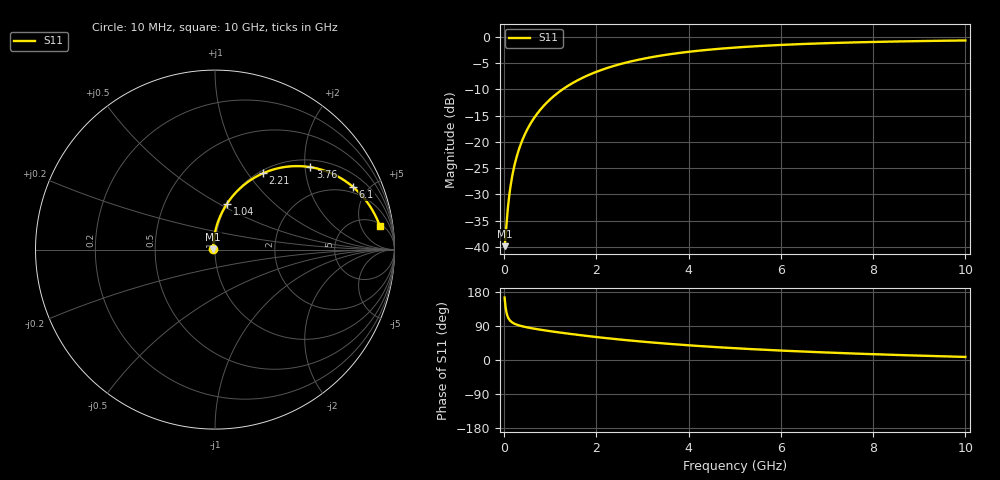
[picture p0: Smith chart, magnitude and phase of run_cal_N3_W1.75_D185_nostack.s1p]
#  Hz  S  RI  R  50
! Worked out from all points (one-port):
!   1000 points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, 10 MHz to 10 GHz, reference 50 ohm
!   lowest |S11| = -39.9 dB at 10 MHz (marker M1), VSWR 1.02, Z = 49 + j0.261 ohm
!   |S11| at or under -10 dB: start of sweep to 1.264 GHz
!   S11 on the Smith chart (normalised r, x): 10 MHz: 0.98, +0.01; 1.04 GHz: 0.99, +0.55; 2.21 GHz: 1.04, +1.19; 3.76 GHz: 1.18, +2.13; 6.1 GHz: 1.64, +4.00; 10 GHz: 6, +11
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1e7  -0.00978 0.00267
4e7  -0.00966 0.0107
9e7  -0.00916 0.024
1.1e8  -0.00886 0.0293
1.3e8  -0.00849 0.0346
1.6e8  -0.00783 0.0426
2e8  -0.00673 0.0532
2.4e8  -0.00539 0.0637
2.8e8  -0.00382 0.0742
3.3e8  -0.00151 0.0873
3.9e8  0.00173 0.1028
4.6e8  0.00617 0.1207
6.2e8  0.0189 0.1606
8.1e8  0.0382 0.2056
1.04e9  0.0671 0.256
1.26e9  0.0995 0.2993
1.69e9  0.1721 0.3687
2.21e9  0.2681 0.4255
2.51e9  0.3238 0.446
3.09e9  0.4263 0.4643
3.76e9  0.5307 0.4595
4.37e9  0.6108 0.4396
5.01e9  0.6804 0.4095
6.1e9  0.77 0.3483
6.26e9  0.7807 0.3389
7.51e9  0.8469 0.2653
8.76e9  0.8905 0.1952
1e10  0.9188 0.1305
